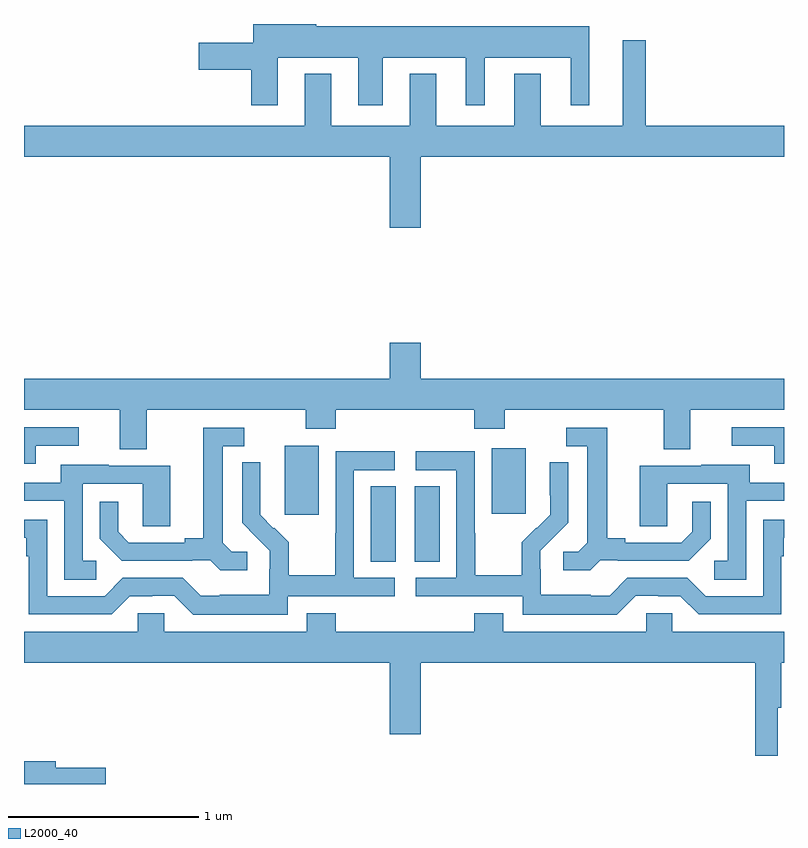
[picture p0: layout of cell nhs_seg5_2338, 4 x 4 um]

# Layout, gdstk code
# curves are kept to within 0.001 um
import gdstk
lib = gdstk.Library(unit=1e-6, precision=1e-09)
def R(c, l, rs):  # rectangles x0, y0, x1, y1
    for r in rs: c.add(gdstk.rectangle(r[:2], r[2:], *l))
def P(c, l, *ps):  # polygons
    for p in ps: c.add(gdstk.Polygon(p, *l))
L2000_40 = (2000, 40)

nhs_seg5_2338 = lib.new_cell('nhs_seg5_2338')
R(nhs_seg5_2338, L2000_40, [(248.825,847.969,248.956,848.366), (249.056,847.969,249.187,848.366), (248.372,848.217,248.551,848.578), (249.461,848.222,249.64,848.566)])
P(nhs_seg5_2338, L2000_40, [(248.335,850.622),(248.759,850.622),(248.759,850.371),(248.887,850.371),(248.887,850.622),(249.326,850.622),(249.326,850.371),(249.424,850.371),(249.424,850.622),(249.878,850.622),(249.878,850.371),(249.976,850.371),(249.976,850.786),(248.539,850.786),(248.539,850.799),(248.207,850.799),(248.207,850.7),(247.92,850.7),(247.92,850.558),(248.195,850.558),(248.195,850.371),(248.335,850.371)],
  [(249.088,850.1),(251,850.1),(251,850.264),(250.273,850.264),(250.273,850.714),(250.151,850.714),(250.151,850.264),(249.721,850.264),(249.721,850.537),(249.581,850.537),(249.581,850.264),(249.169,850.264),(249.169,850.537),(249.029,850.537),(249.029,850.264),(248.617,850.264),(248.617,850.537),(248.477,850.537),(248.477,850.264),(247,850.264),(247,850.1),(248.924,850.1),(248.924,849.726),(249.088,849.726)],
  [(247.645,848.768),(248.482,848.768),(248.482,848.669),(248.642,848.669),(248.642,848.768),(249.371,848.768),(249.371,848.669),(249.531,848.669),(249.531,848.768),(250.367,848.768),(250.367,848.56),(250.507,848.56),(250.507,848.768),(251,848.768),(251,848.932),(249.088,848.932),(249.088,849.121),(248.924,849.121),(248.924,848.932),(247,848.932),(247,848.768),(247.505,848.768),(247.505,848.56),(247.645,848.56)],
  [(247.063,848.58),(247.288,848.58),(247.288,848.676),(247,848.676),(247,848.484),(247.063,848.484)],
  [(251,848.676),(250.725,848.676),(250.725,848.58),(250.949,848.58),(250.949,848.484),(251,848.484)],
  [(250.032,847.977),(250.126,847.977),(250.126,847.974),(250.498,847.974),(250.614,848.09),(250.614,848.284),(250.517,848.284),(250.517,848.127),(250.46,848.07),(250.165,848.07),(250.165,848.093),(250.069,848.093),(250.069,848.673),(249.855,848.673),(249.855,848.577),(249.965,848.577),(249.965,848.069),(249.918,848.022),(249.837,848.022),(249.837,847.925),(249.98,847.925)],
  [(248.176,848.022),(248.094,848.022),(248.047,848.069),(248.047,848.577),(248.158,848.577),(248.158,848.673),(247.943,848.673),(247.943,848.093),(247.847,848.093),(247.847,848.07),(247.552,848.07),(247.495,848.127),(247.495,848.284),(247.398,848.284),(247.398,848.09),(247.514,847.974),(247.886,847.974),(247.886,847.977),(247.98,847.977),(248.032,847.925),(248.176,847.925)],
  [(248.388,847.788),(248.95,847.788),(248.95,847.884),(248.736,847.884),(248.736,848.451),(248.95,848.451),(248.95,848.55),(248.64,848.55),(248.64,848.12),(248.638,848.12),(248.638,847.897),(248.393,847.897),(248.393,848.071),(248.316,848.148),(248.313,848.145),(248.243,848.216),(248.244,848.492),(248.148,848.492),(248.148,848.174),(248.294,848.026),(248.294,847.929),(248.292,847.929),(248.292,847.795),(248.029,847.795),(248.029,847.791),(247.929,847.791),(247.836,847.884),(247.521,847.884),(247.425,847.788),(247.122,847.788),(247.122,848.19),(247,848.19),(247,848.094),(247.013,848.094),(247.013,847.997),(247.026,847.997),(247.026,847.692),(247.461,847.692),(247.557,847.788),(247.676,847.788),(247.676,847.791),(247.791,847.791),(247.891,847.691),(248.388,847.691)],
  [(250.221,847.791),(250.337,847.791),(250.337,847.788),(250.455,847.788),(250.551,847.692),(250.986,847.692),(250.986,847.997),(250.999,847.997),(251,848.19),(250.89,848.19),(250.89,847.788),(250.587,847.788),(250.491,847.884),(250.176,847.884),(250.083,847.791),(249.983,847.791),(249.983,847.795),(249.72,847.795),(249.72,847.929),(249.718,847.929),(249.718,848.026),(249.864,848.174),(249.864,848.492),(249.768,848.492),(249.768,848.32),(249.77,848.32),(249.77,848.216),(249.699,848.145),(249.696,848.148),(249.619,848.071),(249.619,847.897),(249.375,847.897),(249.375,848.12),(249.372,848.12),(249.372,848.55),(249.063,848.55),(249.063,848.451),(249.276,848.451),(249.276,847.884),(249.063,847.884),(249.063,847.788),(249.624,847.788),(249.624,847.691),(250.121,847.691)],
  [(250.8,848.289),(251,848.289),(251,848.385),(250.819,848.385),(250.819,848.479),(250.565,848.479),(250.565,848.475),(250.241,848.475),(250.241,848.155),(250.386,848.155),(250.386,848.379),(250.704,848.379),(250.704,847.974),(250.632,847.974),(250.632,847.873),(250.8,847.873)],
  [(247.381,847.974),(247.308,847.974),(247.308,848.379),(247.626,848.379),(247.626,848.155),(247.771,848.155),(247.771,848.475),(247.447,848.475),(247.447,848.479),(247.193,848.479),(247.193,848.385),(247,848.385),(247,848.289),(247.212,848.289),(247.212,847.873),(247.381,847.873)],
  [(250.967,847.2),(250.985,847.2),(250.985,847.436),(251,847.436),(251,847.6),(250.413,847.6),(250.413,847.698),(250.275,847.698),(250.275,847.6),(249.523,847.6),(249.523,847.699),(249.371,847.699),(249.371,847.6),(248.642,847.6),(248.642,847.699),(248.489,847.699),(248.489,847.6),(247.737,847.6),(247.737,847.698),(247.599,847.698),(247.599,847.6),(247,847.6),(247,847.436),(248.924,847.436),(248.924,847.062),(249.088,847.062),(249.088,847.436),(250.849,847.436),(250.849,846.948),(250.967,846.948)],
  [(247.429,846.884),(247.168,846.884),(247.168,846.92),(247,846.92),(247,846.799),(247.429,846.799)])

lib.write_gds('nhs_seg5_2338.gds')
